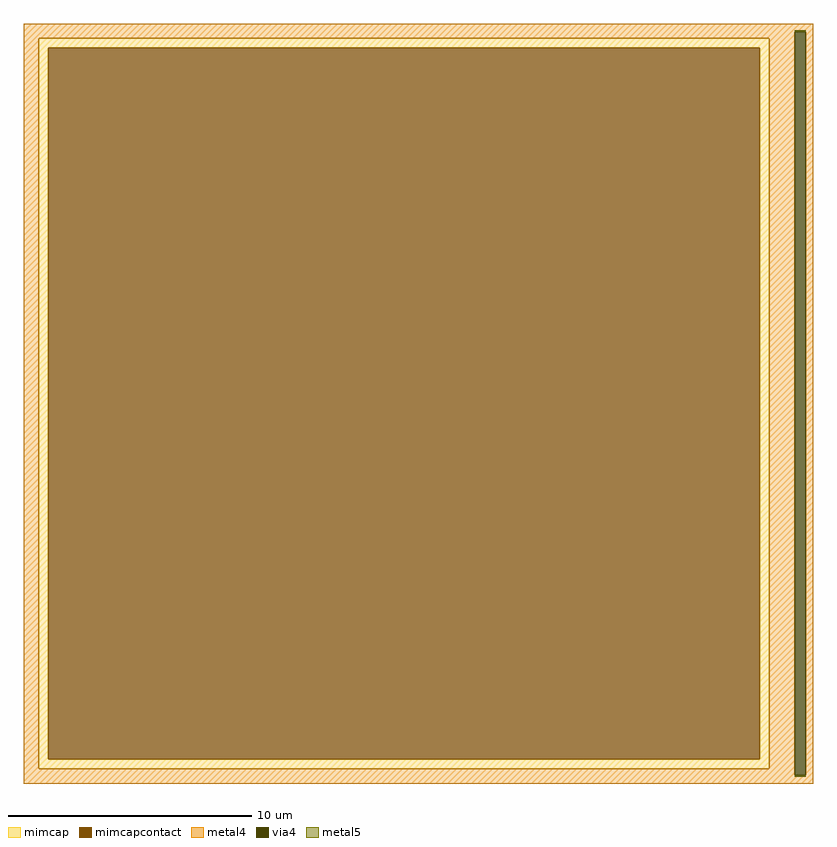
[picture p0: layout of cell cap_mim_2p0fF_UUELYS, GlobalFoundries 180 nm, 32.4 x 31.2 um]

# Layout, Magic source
magic
tech gf180mcuD
magscale 1 10
<< mimcap >>
rect -3120 2920 2880 3000
rect -3120 -2920 -3040 2920
rect 2800 -2920 2880 2920
rect -3120 -3000 2880 -2920
<< mimcapcontact >>
rect -3040 -2920 2800 2920
<< metal4 >>
rect -3240 3053 3240 3120
rect -3240 3000 3090 3053
rect -3240 -3000 -3120 3000
rect 2880 -3000 3090 3000
rect -3240 -3053 3090 -3000
rect 3178 -3053 3240 3053
rect -3240 -3120 3240 -3053
<< via4 >>
rect 3090 -3053 3178 3053
<< metal5 >>
rect 3090 3053 3178 3063
rect 3090 -3063 3178 -3053
<< properties >>
string FIXED_BBOX -3240 -3120 3000 3120
string gencell cap_mim_2p0fF
string library gf180mcu
string parameters w 30.0 l 30.0 val 1.819k carea 1.99 cperi 0.2383 class capacitor nx 1 ny 1 dummy 0 square 0 lmin 5.00 wmin 5.00 lmax 100.0 wmax 100.0 dc 0 bconnect 1 tconnect 1
<< end >>
